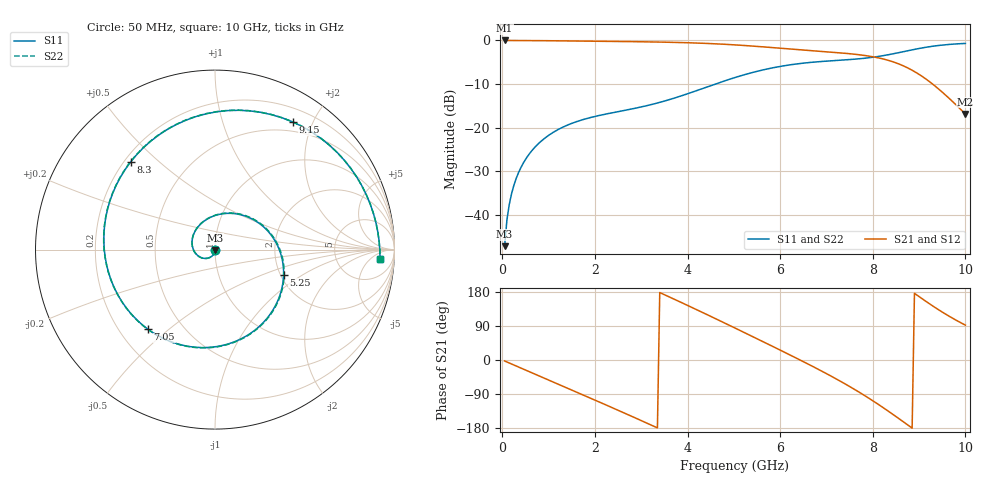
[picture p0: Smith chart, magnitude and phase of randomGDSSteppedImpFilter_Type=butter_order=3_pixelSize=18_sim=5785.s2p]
! freq	dB(S11)	phase(S11)	dB(S12)	phase(S12)
!  dB(S21)	phase(S21)	dB(S22)	phase(S22)
!S-par simulation data
#  GHz  S  DB  R 50
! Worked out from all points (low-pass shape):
!   200 points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, 50 MHz to 10 GHz, reference 50 ohm
!   highest |S21| = -0.03 dB at 50 MHz (marker M1); lowest = -16.9 dB at 10 GHz (marker M2)
!   |S21| within 3 dB of the highest: start of sweep to 7.463 GHz
!   lowest |S11| = -47.2 dB at 50 MHz (marker M3), VSWR 1.01, Z = 50 - j0.438 ohm
!   |S11| at or under -10 dB: start of sweep to 4.605 GHz
!   |S22| runs from -47.2 to -0.7 dB; largest |S21 - S12| = 0
!   S11 on the Smith chart (normalised r, x): 50 MHz: 1.00, -0.01; 5.25 GHz: 2.08, -0.69; 7.05 GHz: 0.32, -0.43; 8.3 GHz: 0.23, +0.41; 9.15 GHz: 0.37, +1.72; 10 GHz: 16, -11
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0.05  -47.17 -91.7  -0.03 -2.6  -0.03 -2.6  -47.17 -91.7
0.1  -41.16 -95.0  -0.03 -5.3  -0.03 -5.3  -41.16 -94.9
0.2  -35.15 -100.7  -0.04 -10.6  -0.04 -10.6  -35.15 -100.6
0.5  -27.32 -117.0  -0.05 -26.4  -0.05 -26.4  -27.32 -116.9
1.15  -20.77 -152.0  -0.11 -60.8  -0.11 -60.8  -20.77 -151.6
1.75  -18.15 175.8  -0.18 -92.5  -0.18 -92.5  -18.14 176.5
2.65  -16.04 127.2  -0.28 -140.7  -0.28 -140.7  -16.03 128.3
3.4  -14.22 85.8  -0.40 178.0  -0.40 178.0  -14.22 87.3
3.85  -12.78 60.6  -0.51 152.7  -0.51 152.7  -12.78 62.1
4.3  -11.14 35.0  -0.66 126.8  -0.66 126.8  -11.14 36.6
5.05  -8.44 -8.3  -1.06 82.9  -1.06 82.9  -8.44 -6.9
5.25  -7.81 -20.0  -1.20 71.0  -1.20 71.0  -7.81 -18.6
6  -5.98 -64.4  -1.81 26.2  -1.81 26.2  -5.98 -63.1
6.7  -5.02 -107.4  -2.39 -16.7  -2.39 -16.7  -5.02 -106.1
7.05  -4.73 -130.2  -2.67 -39.2  -2.67 -39.2  -4.73 -128.9
7.7  -4.24 -176.7  -3.30 -84.5  -3.30 -84.5  -4.24 -175.4
8.3  -3.37 133.8  -4.48 -132.0  -4.48 -132.0  -3.38 134.9
8.35  -3.28 129.5  -4.64 -136.2  -4.64 -136.2  -3.28 130.5
8.8  -2.29 89.2  -6.57 -175.3  -6.57 -175.3  -2.30 90.0
9.15  -1.59 58.5  -8.89 154.5  -8.89 154.5  -1.59 59.1
9.55  -1.04 26.8  -12.34 122.7  -12.34 122.7  -1.04 27.1
10  -0.71 -3.4  -16.89 92.0  -16.89 92.0  -0.72 -3.2
